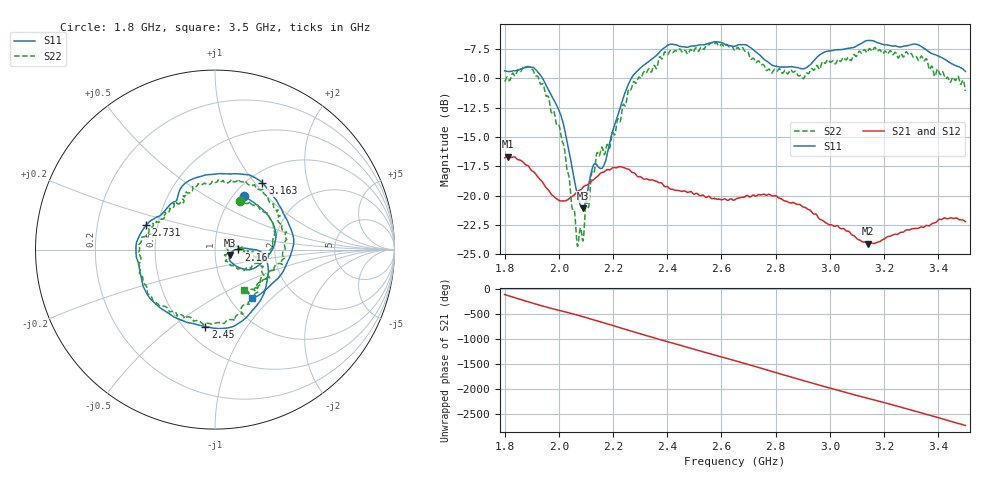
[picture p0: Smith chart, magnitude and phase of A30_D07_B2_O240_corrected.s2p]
! Created with skrf 1.9.0 (http://scikit-rf.org).
# Hz S RI R 50.0
!freq ReS11 ImS11 ReS21 ImS21 ReS12 ImS12 ReS22 ImS22
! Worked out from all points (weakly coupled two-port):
!   1601 points, 1.8 GHz to 3.5 GHz, reference 50 ohm
!   highest |S21| = -16.68 dB at 1.812 GHz (marker M1); lowest = -24.1 dB at 3.142 GHz (marker M2)
!   lowest |S11| = -21.1 dB at 2.089 GHz (marker M3), VSWR 1.19, Z = 58.9 - j3.58 ohm
!   |S11| at or under -10 dB: 1.94 GHz to 2.267 GHz (327.3 MHz wide, 15.6 % of centre)
!   |S22| runs from -24.3 to -7.0 dB; largest |S21 - S12| = 0.0028
!   S11 on the Smith chart (normalised r, x): 1.8 GHz: 1.12, +0.76; 2.16 GHz: 1.30, +0.00; 2.45 GHz: 0.63, -0.66; 2.731 GHz: 0.43, +0.14; 3.163 GHz: 1.17, +1.09; 3.5 GHz: 1.26, -0.76
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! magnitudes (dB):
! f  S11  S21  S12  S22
! 1.8 GHz  -9.4  -16.8  -16.8  -10.3
! 1.812 GHz  -9.4  -16.7  -16.7  -10.0
! 1.887 GHz  -9.0  -17.5  -17.5  -9.0
! 1.941 GHz  -10.0  -18.9  -18.9  -10.5
! 2.01 GHz  -13.4  -20.5  -20.4  -15.2
! 2.067 GHz  -19.7  -19.7  -19.7  -24.0
! 2.084 GHz  -21.0  -19.4  -19.4  -23.1
! 2.089 GHz  -21.1  -19.3  -19.3  -23.9
! 2.127 GHz  -17.4  -18.7  -18.7  -18.1
! 2.16 GHz  -17.7  -18.0  -18.0  -15.9
! 2.262 GHz  -10.2  -17.8  -17.9  -11.0
! 2.367 GHz  -7.9  -18.9  -18.8  -8.5
! 2.45 GHz  -7.3  -19.6  -19.6  -7.6
! 2.65 GHz  -7.3  -20.4  -20.3  -7.6
! 2.731 GHz  -7.8  -20.0  -20.0  -8.6
! 2.81 GHz  -9.0  -20.2  -20.1  -9.2
! 2.934 GHz  -8.7  -21.4  -21.4  -9.2
! 3.142 GHz  -6.8  -24.1  -24.0  -7.6
! 3.163 GHz  -6.8  -24.1  -24.1  -7.4
! 3.217 GHz  -7.2  -23.5  -23.5  -7.8
! 3.324 GHz  -7.1  -22.8  -22.8  -8.3
! 3.5 GHz  -9.4  -22.2  -22.2  -11.1
